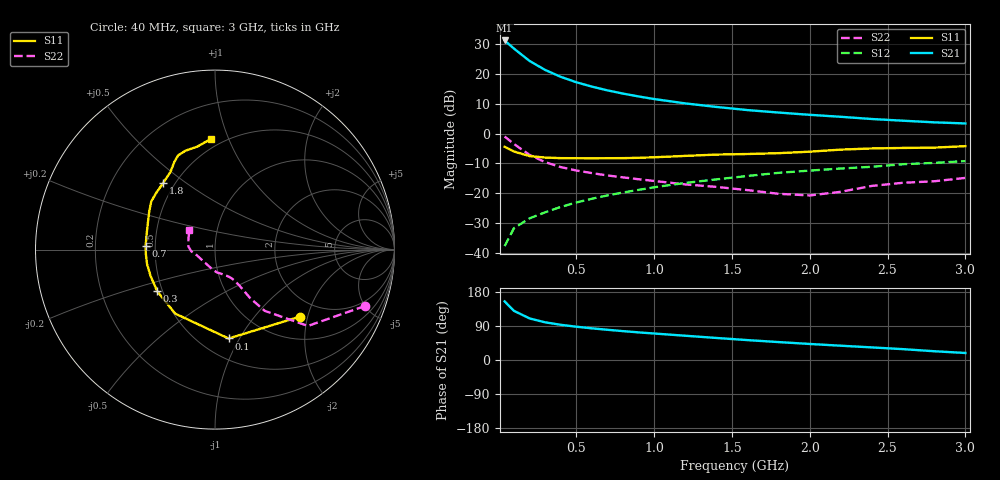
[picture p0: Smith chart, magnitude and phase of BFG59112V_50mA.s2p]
! Filename:  BFG591E.S2P  Version:  4.0
! Philips part #: BFG591  Date: Jun 1994
! Bias condition: Vce=12V; Ic=50mA
#  MHz  S  MA  R  50
! Freq  S11  S21  S12  S22  !GUM [dB]
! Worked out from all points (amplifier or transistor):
!   21 points, 40 MHz to 3 GHz, reference 50 ohm
!   highest |S21| = 31.2 dB at 40 MHz (marker M1)
!   |S21| within 3 dB of that: start of sweep to 106.7 MHz
!   unconditionally stable (mu >= 1): 650.9 MHz to 2.189 GHz
!   at 300 MHz: K = 0.82, MSG = 23.9 dB, |S12| = -26.4 dB
!   at 1 GHz: K = 1.05, MAG = 13.5 dB, |S12| = -18.0 dB
!   at 3 GHz: K = 0.95, MSG = 6.3 dB, |S12| = -9.2 dB
!   S11 on the Smith chart (normalised r, x): 40 MHz: 1.52, -1.79; 100 MHz: 0.68, -0.90; 300 MHz: 0.47, -0.26; 700 MHz: 0.44, +0.02; 1.8 GHz: 0.43, +0.41; 3 GHz: 0.43, +0.86
40  0.602 -38.4  36.34 154.7  0.013 74.4  0.893 -20.6
100  0.501 -81.3  26.55 129.7  0.026 62.7  0.67 -39.4
200  0.42 -121.9  16.5 109.8  0.038 59.5  0.44 -50.9
300  0.397 -144.1  11.66 99.5  0.048 61.3  0.333 -54.1
400  0.388 -158.0  8.95 92.9  0.059 63.3  0.275 -55.0
500  0.387 -168.1  7.258 87.9  0.07 65.3  0.241 -55.9
600  0.386 -176.0  6.129 83.6  0.081 65.9  0.218 -57.0
700  0.387 177.3  5.304 79.8  0.092 66.5  0.199 -58.3
800  0.388 170.9  4.683 76.2  0.103 66.6  0.185 -59.9
900  0.393 164.7  4.193 72.9  0.114 66.7  0.172 -62.4
1000  0.401 159.1  3.793 69.9  0.126 66.5  0.161 -65.6
1200  0.423 150.1  3.208 64.0  0.149 65.2  0.141 -74.4
1400  0.445 143.0  2.797 58.2  0.171 63.5  0.128 -84.8
1600  0.455 136.0  2.477 52.5  0.195 62.5  0.113 -96.2
1800  0.47 128.0  2.251 47.3  0.22 59.5  0.098 -110.9
2000  0.498 120.0  2.063 42.3  0.24 57.9  0.092 -137.5
2200  0.539 114.8  1.911 37.7  0.26 55.6  0.106 -162.6
2400  0.564 111.3  1.754 33.2  0.278 54.7  0.133 -176.2
2600  0.575 106.6  1.644 28.6  0.307 51.1  0.15 172.8
2800  0.582 99.8  1.544 23.1  0.323 47.2  0.159 158.7
3000  0.616 92.3  1.479 18.5  0.346 45.7  0.181 142.2
